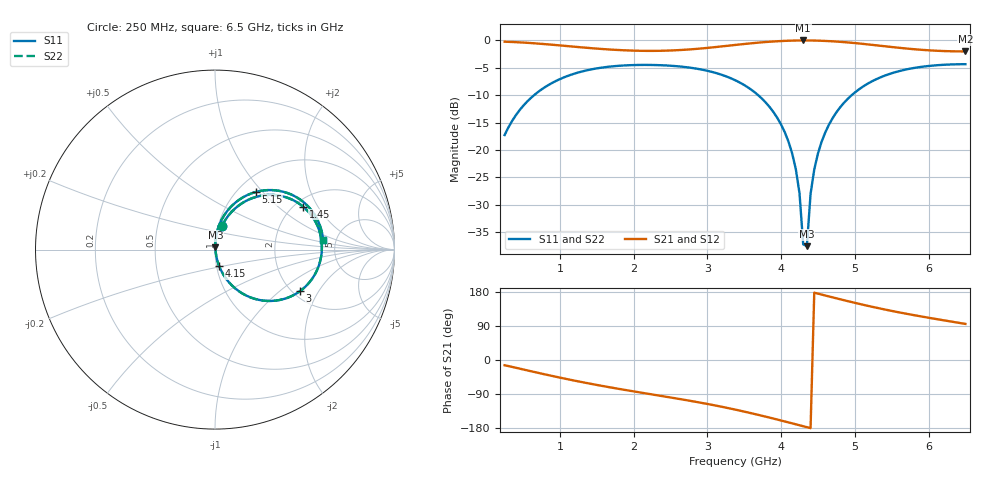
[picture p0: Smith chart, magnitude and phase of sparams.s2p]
! NobuRF kit-ro100-thru: ports 1 "p1", 2 "p2"; 2900 + 2900 steps
# GHz S RI R 50
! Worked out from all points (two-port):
!   126 points, 250 MHz to 6.5 GHz, reference 50 ohm
!   highest |S21| = -0.04 dB at 4.3 GHz (marker M1); lowest = -2.0 dB at 6.5 GHz (marker M2)
!   |S21| within 3 dB of the highest: start of sweep to end of sweep
!   lowest |S11| = -37.5 dB at 4.35 GHz (marker M3), VSWR 1.03, Z = 50.2 + j1.32 ohm
!   |S11| at or under -10 dB: start of sweep to 650.6 MHz; 3.688 GHz to 4.959 GHz (1.271 GHz wide, 29.4 % of centre)
!   |S22| runs from -37.5 to -4.4 dB; largest |S21 - S12| = 2.3e-07
!   S11 on the Smith chart (normalised r, x): 250 MHz: 1.04, +0.28; 1.45 GHz: 2.22, +1.51; 3 GHz: 2.18, -1.40; 4.15 GHz: 1.03, -0.19; 5.15 GHz: 1.21, +0.92; 6.5 GHz: 3.93, +0.69
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0.25  0.0388 0.1313  0.9409 -0.2329  0.9409 -0.2329  0.0388 0.1313
0.45  0.0921 0.2099  0.8829 -0.3672  0.8829 -0.3672  0.0921 0.2099
0.65  0.167 0.2682  0.7994 -0.4898  0.7994 -0.4898  0.167 0.2682
1.3  0.442 0.2721  0.4513 -0.7324  0.4513 -0.7324  0.442 0.2721
1.45  0.4911 0.2393  0.3705 -0.7581  0.3705 -0.7581  0.4911 0.2393
2.35  0.5911 -0.04  -0.057 -0.7988  -0.057 -0.7988  0.5911 -0.04
3  0.4727 -0.2321  -0.3731 -0.7652  -0.3731 -0.7652  0.4727 -0.2321
3.4  0.314 -0.2861  -0.6061 -0.6771  -0.6061 -0.6771  0.314 -0.2861
3.85  0.1126 -0.2163  -0.8584 -0.4498  -0.8584 -0.4498  0.1126 -0.2163
4  0.0601 -0.1597  -0.9215 -0.3413  -0.9215 -0.3413  0.0601 -0.1597
4.15  0.0226 -0.0906  -0.9667 -0.2203  -0.9667 -0.2203  0.0226 -0.0906
4.25  0.00779 -0.0397  -0.9851 -0.1349  -0.9851 -0.1349  0.00779 -0.0397
4.3  0.00364 -0.0134  -0.9906 -0.0914  -0.9906 -0.0914  0.00364 -0.0134
4.35  0.00174 0.0132  -0.9936 -0.0476  -0.9936 -0.0476  0.00174 0.0132
4.4  0.00211 0.0398  -0.9939 -0.00371  -0.9939 -0.00371  0.00211 0.0398
4.45  0.00473 0.0663  -0.9918 0.04  -0.9918 0.04  0.00473 0.0663
4.55  0.0166 0.118  -0.9799 0.1262  -0.9799 0.1262  0.0166 0.118
4.7  0.0499 0.1892  -0.9445 0.2492  -0.9445 0.2492  0.0499 0.1892
5.15  0.2265 0.3209  -0.7456 0.539  -0.7456 0.539  0.2265 0.3209
5.5  0.3829 0.3216  -0.5526 0.6683  -0.5526 0.6683  0.3829 0.3216
6  0.5419 0.2134  -0.2975 0.7529  -0.2975 0.7529  0.5419 0.2134
6.5  0.6022 0.056  -0.0717 0.7873  -0.0717 0.7873  0.6022 0.056
